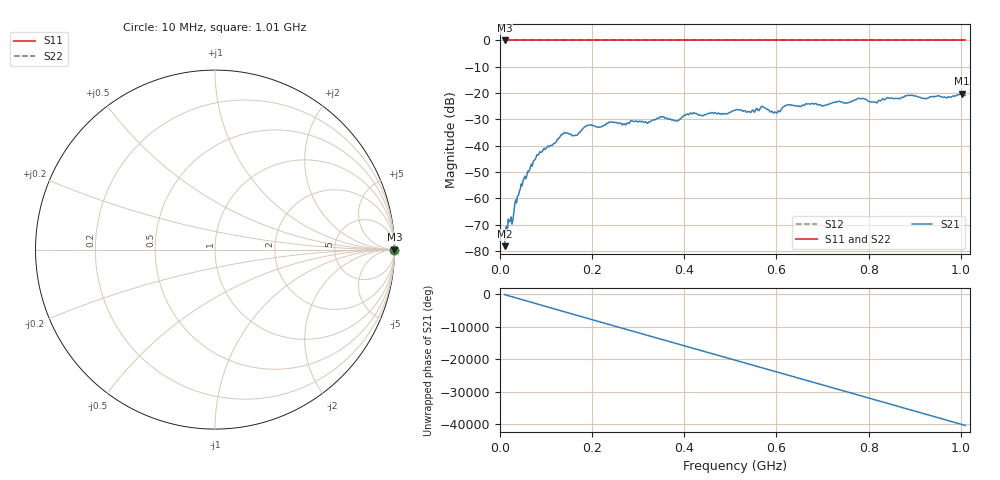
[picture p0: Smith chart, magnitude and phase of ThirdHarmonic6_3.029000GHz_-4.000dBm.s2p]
! 8/17/2025 8:44:16 AM
! C:\ANRITSUVNA\TEMP\TEMP.S2P
! CHANNEL.1
! TR.MEASUREMENT
! RAW.DATA
! RF.CORRECTION.OFF
! AVERAGING.OFF
! IF.BANDWIDTH: 5KHZ
! SWEEPTYPE:  FREQ.SWEEP(Linear)
! Reference Plane Port Info
! PORT:  PORT1  PORT2
! DISTANCE:  0  m  0  m
! TIME:  0  s  0  s
! PHASE.OFFSET:  0  deg.  0  deg.
! LOSS:  0  dB  0  dB
! REF.LOSS:  0  dB  0  dB
! REF.FREQ:  0  Hz  0  Hz
! Power Info
! POWER:  -20  dBm  -20  dBm
! EFF.POWER:  -20  dBm  -20  dBm
! SOURCE.ATTEN:  0  dB  0  dB
! TEST.ATTEN:  0  dB  0  dB
# GHZ S RI R 50.0
! FREQ.GHZ  S11RE  S11IM  S21RE  S21IM  S12RE  S12IM  S22RE  S22IM
!; PortSelection: Port_12
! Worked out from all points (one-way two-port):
!   501 points, 10 MHz to 1.01 GHz, reference 50 ohm
!   highest |S21| = -20.23 dB at 1.002 GHz (marker M1); lowest = -78.1 dB at 10 MHz (marker M2)
!   lowest |S11| = 0.0 dB at 10 MHz (marker M3)
!   |S11| at or under -10 dB: nowhere
!   |S22| runs from 0.0 to 0.0 dB; largest |S21 - S12| = 1.1
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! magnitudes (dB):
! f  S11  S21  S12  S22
! 10 MHz  0.0  -78.1  0.0  0.0
! 16 MHz  0.0  -72.2  0.0  0.0
! 26 MHz  0.0  -69.8  0.0  0.0
! 36 MHz  0.0  -61.7  0.0  0.0
! 50 MHz  0.0  -53.3  0.0  0.0
! 82 MHz  0.0  -43.5  0.0  0.0
! 136 MHz  0.0  -35.7  0.0  0.0
! 164 MHz  0.0  -36.0  0.0  0.0
! 178 MHz  0.0  -33.8  0.0  0.0
! 192 MHz  0.0  -32.2  0.0  0.0
! 322 MHz  0.0  -31.2  0.0  0.0
! 344 MHz  0.0  -29.6  0.0  0.0
! 384 MHz  0.0  -30.5  0.0  0.0
! 416 MHz  0.0  -27.8  0.0  0.0
! 510 MHz  0.0  -26.5  0.0  0.0
! 570 MHz  0.0  -25.1  0.0  0.0
! 598 MHz  0.0  -27.3  0.0  0.0
! 624 MHz  0.0  -24.5  0.0  0.0
! 678 MHz  0.0  -24.0  0.0  0.0
! 844 MHz  0.0  -21.9  0.0  0.0
! 1.002 GHz  0.0  -20.2  0.0  0.0
! 1.01 GHz  0.0  -20.9  0.0  0.0
